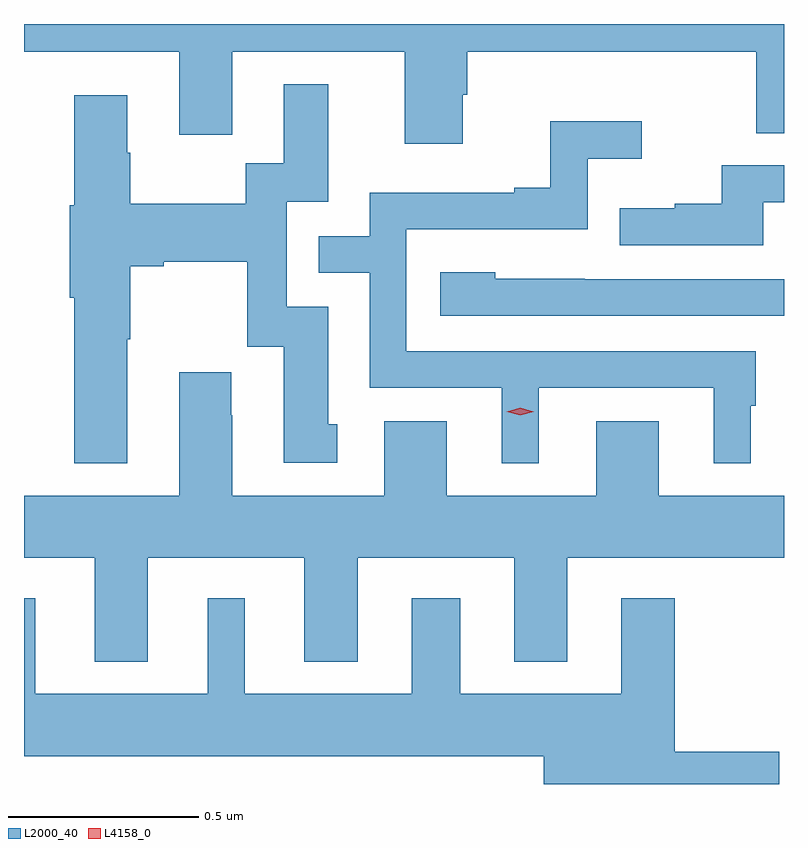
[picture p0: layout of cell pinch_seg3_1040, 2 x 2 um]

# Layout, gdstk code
import gdstk
lib = gdstk.Library(unit=1e-6, precision=1e-09)
def P(c, l, *ps):  # polygons
    for p in ps: c.add(gdstk.Polygon(p, *l))
L2000_40 = (2000, 40)
L4158_0 = (4158, 0)

pinch_seg3_1040 = lib.new_cell('pinch_seg3_1040')
P(pinch_seg3_1040, L2000_40, [(533.863,688.815),(533.876,688.815),(533.876,688.928),(534.636,688.928),(534.636,688.714),(534.709,688.714),(534.709,689.001),(532.709,689.001),(532.709,688.928),(533.117,688.928),(533.117,688.71),(533.257,688.71),(533.257,688.928),(533.711,688.928),(533.711,688.686),(533.863,688.686)],
  [(532.981,688.171),(532.989,688.171),(532.989,688.364),(533.077,688.364),(533.077,688.376),(533.297,688.376),(533.297,688.152),(533.393,688.152),(533.393,687.846),(533.533,687.846),(533.533,687.948),(533.509,687.948),(533.509,688.257),(533.4,688.257),(533.4,688.533),(533.509,688.533),(533.509,688.843),(533.393,688.843),(533.393,688.634),(533.292,688.634),(533.292,688.528),(532.989,688.528),(532.989,688.662),(532.981,688.662),(532.981,688.813),(532.841,688.813),(532.841,688.524),(532.829,688.524),(532.829,688.28),(532.841,688.28),(532.841,687.845),(532.981,687.845)],
  [(534.064,688.044),(534.524,688.044),(534.524,687.845),(534.622,687.845),(534.622,687.996),(534.634,687.996),(534.634,688.14),(533.715,688.14),(533.715,688.461),(534.192,688.461),(534.192,688.646),(534.334,688.646),(534.334,688.745),(534.094,688.745),(534.094,688.57),(533.999,688.57),(533.999,688.557),(533.619,688.557),(533.619,688.443),(533.485,688.443),(533.485,688.347),(533.619,688.347),(533.619,688.044),(533.966,688.044),(533.966,687.845),(534.064,687.845)],
  [(534.655,688.532),(534.709,688.532),(534.709,688.629),(534.545,688.629),(534.545,688.528),(534.421,688.528),(534.421,688.516),(534.277,688.516),(534.277,688.419),(534.655,688.419)],
  [(534.709,688.329),(534.185,688.329),(534.185,688.33),(533.949,688.33),(533.949,688.348),(533.805,688.348),(533.805,688.233),(534.709,688.233)],
  [(533.035,687.596),(533.447,687.596),(533.447,687.323),(533.587,687.323),(533.587,687.596),(533.999,687.596),(533.999,687.323),(534.139,687.323),(534.139,687.596),(534.709,687.596),(534.709,687.76),(534.379,687.76),(534.379,687.955),(534.215,687.955),(534.215,687.76),(533.821,687.76),(533.821,687.955),(533.657,687.955),(533.657,687.76),(533.257,687.76),(533.257,687.971),(533.254,687.971),(533.254,688.084),(533.117,688.084),(533.117,687.76),(532.709,687.76),(532.709,687.596),(532.895,687.596),(532.895,687.323),(533.035,687.323)],
  [(534.697,687.086),(534.422,687.086),(534.422,687.49),(534.281,687.49),(534.281,687.238),(533.857,687.238),(533.857,687.49),(533.729,687.49),(533.729,687.238),(533.29,687.238),(533.29,687.49),(533.192,687.49),(533.192,687.238),(532.738,687.238),(532.738,687.49),(532.709,687.49),(532.709,687.074),(534.077,687.074),(534.077,687.001),(534.697,687.001)])
P(pinch_seg3_1040, L4158_0, [(534.015,687.971),(533.979,687.981),(533.979,687.981),(533.979,687.981),(534.015,687.991),(534.051,687.981),(534.051,687.981),(534.051,687.981)])

lib.write_gds('pinch_seg3_1040.gds')
